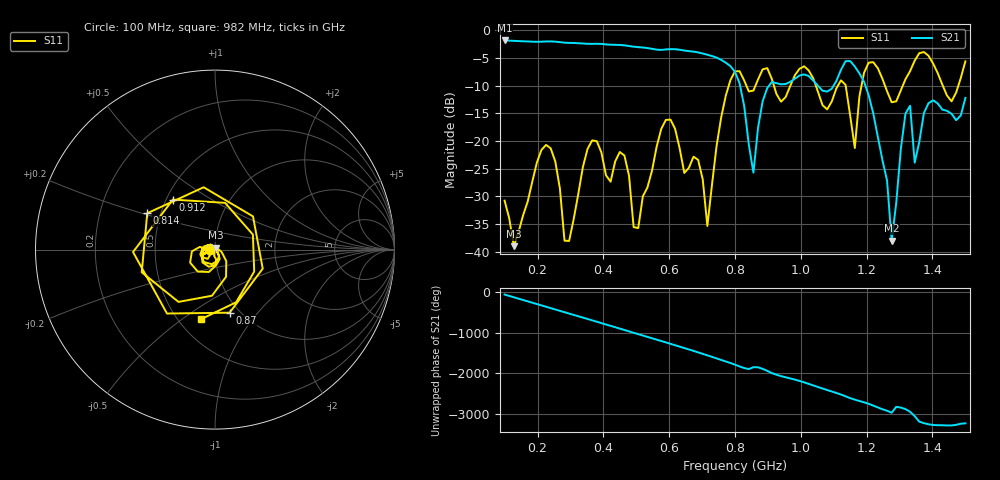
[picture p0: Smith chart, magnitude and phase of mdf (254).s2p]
! NanoVNA-App
! Date: 2025-09-25 15:40:24
! Start: 100MHz Stop: 1,5GHz Points: 101
! S-Parameter data: F S11 S21 S12 S22
# Hz S RI R 50
!  Frequency  S11_Real  S11_Imag  S21_Real  S21_Imag  S12_Real  S12_Imag  S22_Real  S22_Imag
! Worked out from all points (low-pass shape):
!   101 points, 100 MHz to 1.5 GHz, reference 50 ohm
!   highest |S21| = -1.80 dB at 100 MHz (marker M1); lowest = -38.0 dB at 1.276 GHz (marker M2)
!   |S21| within 3 dB of the highest: start of sweep to 739.2 MHz
!   lowest |S11| = -39.0 dB at 128 MHz (marker M3), VSWR 1.02, Z = 50.3 + j1.08 ohm
!   |S11| at or under -10 dB: start of sweep to 780.9 MHz; 918.3 MHz to 968 MHz (49.7 MHz wide, 5.27 % of centre); 1.046 GHz to 1.112 GHz (66.72 MHz wide, 6.18 % of centre) (the widest 3 of 7)
!   S12 and S22 are empty: the file has one direction only
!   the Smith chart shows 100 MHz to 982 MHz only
!   S11 on the Smith chart (normalised r, x): 100 MHz: 0.94, -0.01; 814 MHz: 0.42, +0.21; 870 MHz: 0.90, -0.73; 912 MHz: 0.54, +0.35; 982 MHz: 0.65, -0.59
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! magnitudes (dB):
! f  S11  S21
! 100 MHz  -30.8  -1.8
! 128 MHz  -39.0  -1.9
! 212 MHz  -21.6  -2.0
! 282 MHz  -38.0  -2.2
! 338 MHz  -24.6  -2.4
! 464 MHz  -22.6  -2.7
! 506 MHz  -35.7  -3.0
! 576 MHz  -17.8  -3.5
! 716 MHz  -35.3  -4.4
! 800 MHz  -7.4  -7.5
! 814 MHz  -7.4  -9.6
! 856 MHz  -10.9  -25.7
! 870 MHz  -8.9  -17.6
! 912 MHz  -8.8  -9.3
! 982 MHz  -8.1  -8.7
! 1.038 GHz  -8.7  -9.1
! 1.164 GHz  -21.2  -6.5
! 1.192 GHz  -7.7  -9.3
! 1.276 GHz  -13.0  -38.0
! 1.318 GHz  -8.8  -15.0
! 1.346 GHz  -5.4  -23.9
! 1.5 GHz  -5.6  -12.2
